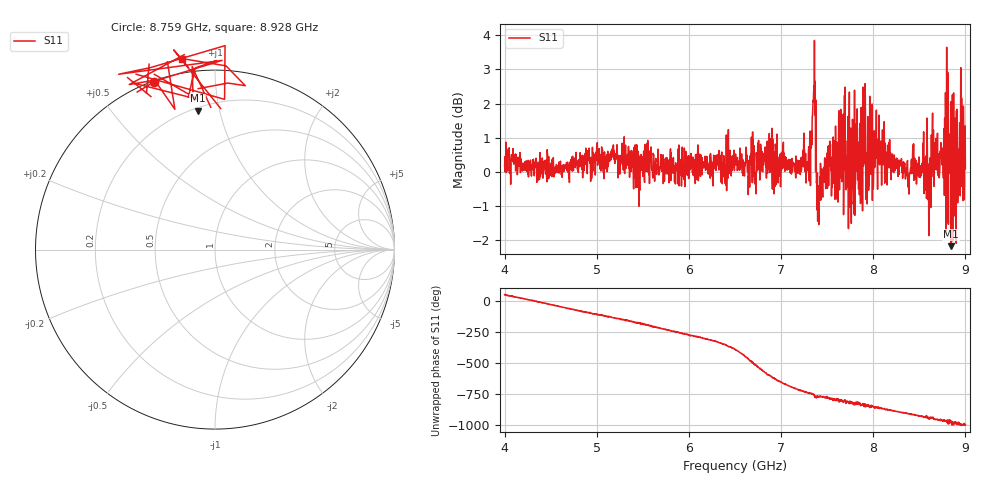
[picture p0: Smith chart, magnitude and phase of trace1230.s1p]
! Created with skrf 1.8.0 (http://scikit-rf.org).
# Hz S RI R 50.0
!freq ReS11 ImS11
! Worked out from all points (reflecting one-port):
!   1601 points, 4 GHz to 9 GHz, reference 50 ohm
!   lowest |S11| = -2.2 dB at 8.844 GHz (marker M1), VSWR 8.06, Z = 10.9 + j42.9 ohm
!   phase of S11 starts at 50 deg and turns -1050 deg over the sweep
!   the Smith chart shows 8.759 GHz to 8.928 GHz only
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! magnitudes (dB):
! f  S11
! 4 GHz  0.2
! 4.625 GHz  -0.2
! 5.25 GHz  -0.1
! 5.875 GHz  0.2
! 6.5 GHz  0.3
! 6.875 GHz  0.5
! 7.125 GHz  0.2
! 7.294 GHz  0.0
! 7.353 GHz  2.3
! 7.409 GHz  -1.5
! 7.519 GHz  0.5
! 7.597 GHz  0.4
! 7.65 GHz  1.3
! 7.75 GHz  -1.0
! 7.769 GHz  -0.3
! 7.822 GHz  0.0
! 7.891 GHz  1.0
! 7.944 GHz  1.3
! 7.962 GHz  2.2
! 8.038 GHz  0.4
! 8.375 GHz  -0.2
! 8.562 GHz  -0.5
! 8.603 GHz  -1.9
! 8.656 GHz  0.5
! 8.844 GHz  -2.2
! 8.919 GHz  -0.6
! 8.959 GHz  2.2
! 9 GHz  0.1
